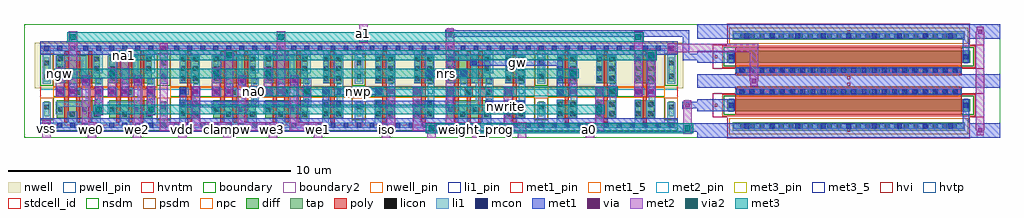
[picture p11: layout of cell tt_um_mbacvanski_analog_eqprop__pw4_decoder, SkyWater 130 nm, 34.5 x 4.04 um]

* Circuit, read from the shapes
.subckt tt_um_mbacvanski_analog_eqprop__pw4_decoder a0 a1 clampw gw iso na0 na1 ngw nrs nwp nwrite res_sel vdd vss we0 we1 we2 we3 weight_prog write
XM1 vss ngw we0 vss sky130_fd_pr__nfet_01v8 w=0.65 l=0.15
XM2 we0 a1 vss vss sky130_fd_pr__nfet_01v8 w=0.65 l=0.15
XM3 vss a0 we0 vss sky130_fd_pr__nfet_01v8 w=0.65 l=0.15
XM4 vss ngw we2 vss sky130_fd_pr__nfet_01v8 w=0.65 l=0.15
XM5 we2 na1 vss vss sky130_fd_pr__nfet_01v8 w=0.65 l=0.15
XM6 vss a0 we2 vss sky130_fd_pr__nfet_01v8 w=0.65 l=0.15
XM7 clampw weight_prog vss vss sky130_fd_pr__nfet_01v8 w=0.65 l=0.15
XM8 vss ngw we3 vss sky130_fd_pr__nfet_01v8 w=0.65 l=0.15
XM9 we3 na1 vss vss sky130_fd_pr__nfet_01v8 w=0.65 l=0.15
XM10 vss na0 we3 vss sky130_fd_pr__nfet_01v8 w=0.65 l=0.15
XM11 vss ngw we1 vss sky130_fd_pr__nfet_01v8 w=0.65 l=0.15
XM12 we1 a1 vss vss sky130_fd_pr__nfet_01v8 w=0.65 l=0.15
XM13 vss na0 we1 vss sky130_fd_pr__nfet_01v8 w=0.65 l=0.15
XM14 nwp weight_prog vss vss sky130_fd_pr__nfet_01v8 w=0.65 l=0.15
XM15 iso nwp vss vss sky130_fd_pr__nfet_01v8 w=0.65 l=0.15
XM16 nrs res_sel vss vss sky130_fd_pr__nfet_01v8 w=0.65 l=0.15
XM17 vss weight_prog gw vss sky130_fd_pr__nfet_01v8 w=0.65 l=0.15
XM18 gw nrs vss vss sky130_fd_pr__nfet_01v8 w=0.65 l=0.15
XM19 vss nwrite gw vss sky130_fd_pr__nfet_01v8 w=0.65 l=0.15
XM20 nwrite write vss vss sky130_fd_pr__nfet_01v8 w=0.65 l=0.15
XM21 ngw gw vss vss sky130_fd_pr__nfet_01v8 w=0.65 l=0.15
XM22 na0 a0 vss vss sky130_fd_pr__nfet_01v8 w=0.65 l=0.15
XM23 na1 a1 vss vss sky130_fd_pr__nfet_01v8 w=0.65 l=0.15
XM24 vss vdd res_sel vss sky130_fd_pr__nfet_g5v0d10v5 w=0.42 l=8
XM25 vss vdd weight_prog vss sky130_fd_pr__nfet_g5v0d10v5 w=0.42 l=8
XM26 n1 ngw we0 vdd sky130_fd_pr__pfet_01v8_hvt w=1 l=0.15
XM27 n2 a1 n1 vdd sky130_fd_pr__pfet_01v8_hvt w=1 l=0.15
XM28 vdd a0 n2 vdd sky130_fd_pr__pfet_01v8_hvt w=1 l=0.15
XM29 n3 ngw we2 vdd sky130_fd_pr__pfet_01v8_hvt w=1 l=0.15
XM30 n4 na1 n3 vdd sky130_fd_pr__pfet_01v8_hvt w=1 l=0.15
XM31 vdd a0 n4 vdd sky130_fd_pr__pfet_01v8_hvt w=1 l=0.15
XM32 clampw weight_prog vdd vdd sky130_fd_pr__pfet_01v8_hvt w=1 l=0.15
XM33 n5 ngw we3 vdd sky130_fd_pr__pfet_01v8_hvt w=1 l=0.15
XM34 n6 na1 n5 vdd sky130_fd_pr__pfet_01v8_hvt w=1 l=0.15
XM35 vdd na0 n6 vdd sky130_fd_pr__pfet_01v8_hvt w=1 l=0.15
XM36 n7 ngw we1 vdd sky130_fd_pr__pfet_01v8_hvt w=1 l=0.15
XM37 n8 a1 n7 vdd sky130_fd_pr__pfet_01v8_hvt w=1 l=0.15
XM38 vdd na0 n8 vdd sky130_fd_pr__pfet_01v8_hvt w=1 l=0.15
XM39 nwp weight_prog vdd vdd sky130_fd_pr__pfet_01v8_hvt w=1 l=0.15
XM40 iso nwp vdd vdd sky130_fd_pr__pfet_01v8_hvt w=1 l=0.15
XM41 nrs res_sel vdd vdd sky130_fd_pr__pfet_01v8_hvt w=1 l=0.15
XM42 n9 weight_prog gw vdd sky130_fd_pr__pfet_01v8_hvt w=1 l=0.15
XM43 n10 nrs n9 vdd sky130_fd_pr__pfet_01v8_hvt w=1 l=0.15
XM44 vdd nwrite n10 vdd sky130_fd_pr__pfet_01v8_hvt w=1 l=0.15
XM45 nwrite write vdd vdd sky130_fd_pr__pfet_01v8_hvt w=1 l=0.15
XM46 ngw gw vdd vdd sky130_fd_pr__pfet_01v8_hvt w=1 l=0.15
XM47 na0 a0 vdd vdd sky130_fd_pr__pfet_01v8_hvt w=1 l=0.15
XM48 na1 a1 vdd vdd sky130_fd_pr__pfet_01v8_hvt w=1 l=0.15
.ends

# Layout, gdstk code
import gdstk
lib = gdstk.Library(unit=1e-6, precision=1e-09)
def R(c, l, rs):  # rectangles x0, y0, x1, y1
    for r in rs: c.add(gdstk.rectangle(r[:2], r[2:], *l))
def A(c, l, x, y, w, h, nx, ny, dx, dy):  # array of equal rectangles
    R(c, l, [(x+i*dx, y+j*dy, x+i*dx+w, y+j*dy+h) for i in range(nx) for j in range(ny)])
def P(c, l, *ps):  # polygons
    for p in ps: c.add(gdstk.Polygon(p, *l))
nwell_pin = (64, 16)
nwell = (64, 20)
diff = (65, 20)
tap = (65, 44)
poly = (66, 20)
licon = (66, 44)
li1_pin = (67, 16)
li1 = (67, 20)
mcon = (67, 44)
met1_5 = (68, 5)
met1_pin = (68, 16)
met1 = (68, 20)
via = (68, 44)
met2_pin = (69, 16)
met2 = (69, 20)
via2 = (69, 44)
met3_5 = (70, 5)
met3_pin = (70, 16)
met3 = (70, 20)
hvi = (75, 20)
hvtp = (78, 44)
stdcell_id = (81, 4)
nsdm = (93, 44)
psdm = (94, 20)
npc = (95, 20)
pwell_pin = (122, 16)
hvntm = (125, 20)
boundary = (235, 4)
boundary2 = (236, 0)

tt_um_mbacvanski_analog_ = lib.new_cell('tt_um_mbacvanski_analog_eqprop__hv8t')
R(tt_um_mbacvanski_analog_, diff, [(-4.29,-0.365,4.29,0.055)])
R(tt_um_mbacvanski_analog_, poly, [(-4,-0.495,4,0.495)])
A(tt_um_mbacvanski_analog_, licon, -3.825, 0.245, 0.17, 0.17, 23, 1, 0.34, 0)
R(tt_um_mbacvanski_analog_, licon, [(-4.23,-0.24,-4.06,-0.07), (4.06,-0.24,4.23,-0.07)])
R(tt_um_mbacvanski_analog_, li1, [(-4.23,-0.385,-4.06,0.075), (4.06,-0.385,4.23,0.075), (-4,0.245,4,0.415)])
A(tt_um_mbacvanski_analog_, mcon, -3.865, 0.245, 0.17, 0.17, 22, 1, 0.36, 0)
R(tt_um_mbacvanski_analog_, mcon, [(-4.23,-0.24,-4.06,-0.07), (4.06,-0.24,4.23,-0.07)])
R(tt_um_mbacvanski_analog_, met1, [(-4.26,-0.365,-4.03,0.055), (4.03,-0.365,4.26,0.055), (-3.98,0.215,3.98,0.445)])
R(tt_um_mbacvanski_analog_, hvi, [(-4.475,-0.575,4.475,0.265)])
R(tt_um_mbacvanski_analog_, nsdm, [(-4.415,-0.49,4.415,0.18)])
R(tt_um_mbacvanski_analog_, npc, [(-3.925,0.145,3.925,0.515)])
R(tt_um_mbacvanski_analog_, hvntm, [(-4.475,-0.55,4.475,0.24)])
tt_um_mbacvanski_analog_.add(gdstk.Label('G', (0,0.33), layer=67, texttype=5))
tt_um_mbacvanski_analog_.add(gdstk.Label('S', (4.145,-0.155), layer=67, texttype=5))
tt_um_mbacvanski_analog_.add(gdstk.Label('D', (-4.145,-0.155), layer=67, texttype=5))

c_tt_um_mbacvanski_analog_ = lib.new_cell('tt_um_mbacvanski_analog_eqprop__pw4_pulldown')
R(c_tt_um_mbacvanski_analog_, tap, [(1.25,0.25,9.45,0.55)])
A(c_tt_um_mbacvanski_analog_, licon, 1.525, 0.315, 0.17, 0.17, 23, 1, 0.34, 0)
R(c_tt_um_mbacvanski_analog_, li1, [(1.29,0.315,9.41,0.485)])
A(c_tt_um_mbacvanski_analog_, mcon, 1.665, 0.315, 0.17, 0.17, 9, 1, 0.9, 0)
R(c_tt_um_mbacvanski_analog_, met1_pin, [(5.3,0.21,5.4,0.31), (0.61,1.095,0.71,1.195), (5.3,1.835,5.4,1.935)])
R(c_tt_um_mbacvanski_analog_, met1, [(0,0,10.7,0.515), (9.38,0.515,9.61,1.3), (0,0.935,1.32,1.355), (1.37,1.515,9.33,1.77), (0,1.77,10.7,2)])
R(c_tt_um_mbacvanski_analog_, hvi, [(1.065,-0.02,9.635,0.82), (0.55,0.725,0.875,1.565), (9.825,0.725,10.15,1.565)])
R(c_tt_um_mbacvanski_analog_, psdm, [(1.125,0.125,9.575,0.675)])
R(c_tt_um_mbacvanski_analog_, boundary, [(0,0,10.7,2)])
c_tt_um_mbacvanski_analog_.add(gdstk.Reference(tt_um_mbacvanski_analog_, (5.35,1.3)))
c_tt_um_mbacvanski_analog_.add(gdstk.Label('a', (0.66,1.145), layer=68, texttype=5))
c_tt_um_mbacvanski_analog_.add(gdstk.Label('vdd', (5.35,1.885), layer=68, texttype=5))
c_tt_um_mbacvanski_analog_.add(gdstk.Label('vss', (5.35,0.26), layer=68, texttype=5))

sky130_fd_sc_hd__tapvpwr = lib.new_cell('sky130_fd_sc_hd__tapvpwrvgnd_1')
R(sky130_fd_sc_hd__tapvpwr, nwell, [(-0.19,1.305,0.65,2.91)])
R(sky130_fd_sc_hd__tapvpwr, tap, [(0.145,0.32,0.315,0.845), (0.145,1.525,0.315,2.4)])
R(sky130_fd_sc_hd__tapvpwr, licon, [(0.145,0.555,0.315,0.725), (0.145,1.645,0.315,1.815), (0.145,2.11,0.315,2.28)])
R(sky130_fd_sc_hd__tapvpwr, li1, [(0,-0.085,0.46,0.085), (0.085,0,0.375,0.81), (0.085,1.47,0.375,2.72), (0,2.635,0.46,2.805)])
R(sky130_fd_sc_hd__tapvpwr, mcon, [(0.145,-0.085,0.315,0.085), (0.145,2.635,0.315,2.805)])
R(sky130_fd_sc_hd__tapvpwr, met1_pin, [(0.105,-0.09,0.36,0.1), (0.11,2.62,0.375,2.765)])
R(sky130_fd_sc_hd__tapvpwr, met1, [(0,-0.24,0.46,0.24), (0,2.48,0.46,2.96)])
R(sky130_fd_sc_hd__tapvpwr, hvtp, [(0,1.25,0.46,2.72)])
R(sky130_fd_sc_hd__tapvpwr, stdcell_id, [(0,0,0.46,2.72)])
R(sky130_fd_sc_hd__tapvpwr, nsdm, [(0,-0.19,0.46,0.19), (0,1.395,0.46,2.53)])
R(sky130_fd_sc_hd__tapvpwr, psdm, [(0,0.19,0.46,0.975), (0,2.53,0.46,2.91)])
sky130_fd_sc_hd__tapvpwr.add(gdstk.Label('VGND', (0.23,0), layer=68, texttype=5))
sky130_fd_sc_hd__tapvpwr.add(gdstk.Label('VPWR', (0.23,2.72), layer=68, texttype=5))
sky130_fd_sc_hd__tapvpwr.add(gdstk.Label('tapvpwrvgnd_1', (0,0), layer=83, texttype=44))

sky130_fd_sc_hd__inv_1 = lib.new_cell('sky130_fd_sc_hd__inv_1')
R(sky130_fd_sc_hd__inv_1, nwell_pin, [(0.145,2.635,0.315,2.805), (0.145,2.635,0.315,2.805)])
R(sky130_fd_sc_hd__inv_1, nwell, [(-0.19,1.305,1.57,2.91)])
R(sky130_fd_sc_hd__inv_1, diff, [(0.34,0.235,1.01,0.885), (0.34,1.485,1.01,2.485)])
P(sky130_fd_sc_hd__inv_1, poly, [(0.6,0.105),(0.6,0.995),(0.32,0.995),(0.32,1.325),(0.6,1.325),(0.6,2.615),(0.75,2.615),(0.75,0.105)])
A(sky130_fd_sc_hd__inv_1, licon, 0.38, 1.575, 0.17, 0.17, 1, 3, 0, 0.34)
A(sky130_fd_sc_hd__inv_1, licon, 0.8, 1.575, 0.17, 0.17, 1, 3, 0, 0.34)
R(sky130_fd_sc_hd__inv_1, licon, [(0.38,0.315,0.55,0.485), (0.8,0.315,0.97,0.485), (0.38,0.655,0.55,0.825), (0.8,0.655,0.97,0.825), (0.4,1.075,0.57,1.245)])
R(sky130_fd_sc_hd__inv_1, li1_pin, [(0.36,1.105,0.53,1.275), (0.82,1.105,0.99,1.275), (0.82,1.445,0.99,1.615)])
R(sky130_fd_sc_hd__inv_1, li1, [(0,-0.085,1.38,0.085), (0.32,0.005,0.55,0.905), (0.32,1.075,0.65,1.315), (0.34,1.495,0.55,2.675), (0,2.635,1.38,2.805)])
P(sky130_fd_sc_hd__inv_1, li1, [(0.72,0.255),(0.72,0.885),(0.82,0.885),(0.82,1.485),(0.72,1.485),(0.72,2.465),(1.05,2.465),(1.05,0.255)])
A(sky130_fd_sc_hd__inv_1, mcon, 0.145, -0.085, 0.17, 0.17, 3, 2, 0.46, 2.72)
R(sky130_fd_sc_hd__inv_1, met1_pin, [(0.145,-0.085,0.315,0.085), (0.145,-0.085,0.315,0.085), (0.145,2.635,0.315,2.805), (0.145,2.635,0.315,2.805)])
R(sky130_fd_sc_hd__inv_1, hvtp, [(0,1.25,1.38,2.72)])
R(sky130_fd_sc_hd__inv_1, stdcell_id, [(0,0,1.38,2.72)])
R(sky130_fd_sc_hd__inv_1, nsdm, [(0,-0.19,1.38,1.015)])
R(sky130_fd_sc_hd__inv_1, psdm, [(0,1.355,1.38,2.91)])
R(sky130_fd_sc_hd__inv_1, npc, [(0,0.975,1.38,1.345)])
R(sky130_fd_sc_hd__inv_1, pwell_pin, [(0.145,-0.085,0.315,0.085), (0.145,-0.085,0.315,0.085)])
R(sky130_fd_sc_hd__inv_1, boundary2, [(0,0,1.38,2.72)])
sky130_fd_sc_hd__inv_1.add(gdstk.FlexPath([(0,0),(1.38,0)], 0.48, ends="flush", simple_path=True, layer=68, datatype=20))  # met1
sky130_fd_sc_hd__inv_1.add(gdstk.FlexPath([(0,2.72),(1.38,2.72)], 0.48, ends="flush", simple_path=True, layer=68, datatype=20))  # met1
sky130_fd_sc_hd__inv_1.add(gdstk.Label('A', (0.445,1.19), layer=67, texttype=5))
sky130_fd_sc_hd__inv_1.add(gdstk.Label('Y', (0.905,1.19), layer=67, texttype=5))
sky130_fd_sc_hd__inv_1.add(gdstk.Label('Y', (0.905,1.53), layer=67, texttype=5))
sky130_fd_sc_hd__inv_1.add(gdstk.Label('VPWR', (0.23,2.72), layer=68, texttype=5))
sky130_fd_sc_hd__inv_1.add(gdstk.Label('VGND', (0.23,0), layer=68, texttype=5))
sky130_fd_sc_hd__inv_1.add(gdstk.Label('inv_1', (0,0), layer=83, texttype=44))
sky130_fd_sc_hd__inv_1.add(gdstk.Label('VPB', (0.23,2.72), layer=64, texttype=5))
sky130_fd_sc_hd__inv_1.add(gdstk.Label('VNB', (0.23,0), layer=64, texttype=59))

sky130_fd_sc_hd__nor3_1 = lib.new_cell('sky130_fd_sc_hd__nor3_1')
R(sky130_fd_sc_hd__nor3_1, nwell_pin, [(0.15,2.635,0.32,2.805)])
R(sky130_fd_sc_hd__nor3_1, nwell, [(-0.19,1.305,2.03,2.91)])
R(sky130_fd_sc_hd__nor3_1, diff, [(0.135,0.235,1.645,0.885), (0.135,1.485,1.645,2.485)])
P(sky130_fd_sc_hd__nor3_1, poly, [(0.395,0.105),(0.395,0.995),(0.125,0.995),(0.125,1.325),(0.395,1.325),(0.395,2.615),(0.545,2.615),(0.545,0.105)],
  [(0.815,0.105),(0.815,0.995),(0.755,0.995),(0.755,1.325),(0.815,1.325),(0.815,2.615),(0.965,2.615),(0.965,1.325),(1.025,1.325),(1.025,0.995),(0.965,0.995),(0.965,0.105)],
  [(1.235,0.105),(1.235,2.615),(1.385,2.615),(1.385,1.325),(1.705,1.325),(1.705,0.995),(1.385,0.995),(1.385,0.105)])
A(sky130_fd_sc_hd__nor3_1, licon, 0.175, 1.575, 0.17, 0.17, 1, 3, 0, 0.34)
R(sky130_fd_sc_hd__nor3_1, licon, [(0.595,0.305,0.765,0.475), (1.435,0.305,1.605,0.475), (0.175,0.465,0.345,0.635), (1.015,0.465,1.185,0.635), (0.175,1.075,0.345,1.245), (0.805,1.075,0.975,1.245), (1.485,1.075,1.655,1.245), (1.435,1.915,1.605,2.085), (1.435,2.255,1.605,2.425)])
A(sky130_fd_sc_hd__nor3_1, li1_pin, 1.53, 0.765, 0.17, 0.17, 1, 3, 0, 0.34)
R(sky130_fd_sc_hd__nor3_1, li1_pin, [(0.15,1.105,0.32,1.275), (0.61,1.445,0.78,1.615), (0.61,1.785,0.78,1.955), (0.15,2.125,0.32,2.295)])
R(sky130_fd_sc_hd__nor3_1, li1, [(1.485,0.655,1.755,1.665), (0.09,0.995,0.425,1.325)])
P(sky130_fd_sc_hd__nor3_1, li1, [(0.09,0.385),(0.09,0.825),(1.145,0.825),(1.145,1.495),(1,1.495),(1,2.28),(0.425,2.28),(0.425,1.495),(0.09,1.495),(0.09,2.45),(1.17,2.45),(1.17,1.665),(1.315,1.665),(1.315,0.655),(1.185,0.655),(1.185,0.385),(1.015,0.385),(1.015,0.655),(0.345,0.655),(0.345,0.385)],
  [(0.595,0.995),(0.595,2.005),(0.83,2.005),(0.83,1.325),(0.975,1.325),(0.975,0.995)],
  [(1.435,1.835),(1.435,2.635),(0,2.635),(0,2.805),(1.84,2.805),(1.84,2.635),(1.75,2.635),(1.75,1.835)],
  [(0,-0.085),(0,0.085),(0.515,0.085),(0.515,0.485),(0.845,0.485),(0.845,0.085),(1.355,0.085),(1.355,0.485),(1.685,0.485),(1.685,0.085),(1.84,0.085),(1.84,-0.085)])
A(sky130_fd_sc_hd__nor3_1, mcon, 0.145, -0.085, 0.17, 0.17, 4, 2, 0.46, 2.72)
R(sky130_fd_sc_hd__nor3_1, met1_pin, [(0.15,-0.085,0.32,0.085), (0.15,2.635,0.32,2.805)])
R(sky130_fd_sc_hd__nor3_1, hvtp, [(0,1.25,1.84,2.72)])
R(sky130_fd_sc_hd__nor3_1, stdcell_id, [(0,0,1.84,2.72)])
R(sky130_fd_sc_hd__nor3_1, nsdm, [(0,-0.19,1.84,1.015)])
R(sky130_fd_sc_hd__nor3_1, psdm, [(0,1.355,1.84,2.91)])
R(sky130_fd_sc_hd__nor3_1, npc, [(0,0.975,1.84,1.345)])
R(sky130_fd_sc_hd__nor3_1, pwell_pin, [(0.15,-0.085,0.32,0.085)])
R(sky130_fd_sc_hd__nor3_1, boundary2, [(0,0,1.84,2.72)])
sky130_fd_sc_hd__nor3_1.add(gdstk.FlexPath([(0,0),(1.84,0)], 0.48, ends="flush", simple_path=True, layer=68, datatype=20))  # met1
sky130_fd_sc_hd__nor3_1.add(gdstk.FlexPath([(0,2.72),(1.84,2.72)], 0.48, ends="flush", simple_path=True, layer=68, datatype=20))  # met1
sky130_fd_sc_hd__nor3_1.add(gdstk.Label('A', (1.615,0.85), layer=67, texttype=5))
sky130_fd_sc_hd__nor3_1.add(gdstk.Label('B', (0.695,1.53), layer=67, texttype=5))
sky130_fd_sc_hd__nor3_1.add(gdstk.Label('Y', (0.235,2.21), layer=67, texttype=5))
sky130_fd_sc_hd__nor3_1.add(gdstk.Label('C', (0.235,1.19), layer=67, texttype=5))
sky130_fd_sc_hd__nor3_1.add(gdstk.Label('VPWR', (0.235,2.72), layer=68, texttype=5))
sky130_fd_sc_hd__nor3_1.add(gdstk.Label('VGND', (0.235,0), layer=68, texttype=5))
sky130_fd_sc_hd__nor3_1.add(gdstk.Label('nor3_1', (0,0), layer=83, texttype=44))
sky130_fd_sc_hd__nor3_1.add(gdstk.Label('VPB', (0.235,2.72), layer=64, texttype=5))
sky130_fd_sc_hd__nor3_1.add(gdstk.Label('VNB', (0.235,0), layer=64, texttype=59))

c_tt_um_mbacvanski_analog__ = lib.new_cell('tt_um_mbacvanski_analog_eqprop__pw4_decoder')
A(c_tt_um_mbacvanski_analog__, li1, 2.56, 1.545, 0.17, 0.17, 3, 1, 0.46, 0)
A(c_tt_um_mbacvanski_analog__, li1, 8.08, 1.545, 0.17, 0.17, 3, 1, 0.46, 0)
R(c_tt_um_mbacvanski_analog__, li1, [(17.49,0.925,17.66,1.095), (16.36,1.095,16.53,1.265), (1.18,1.545,1.35,1.715), (1.64,1.545,1.81,1.715), (4.4,1.545,4.57,1.715), (5.53,1.545,5.7,1.715), (5.99,1.545,6.16,1.715), (6.7,1.545,6.87,1.715), (7.16,1.545,7.33,1.715), (9.92,1.545,10.09,1.715), (10.59,1.545,10.76,1.715), (11.05,1.545,11.22,1.715), (12.43,1.545,12.6,1.715), (12.89,1.545,13.06,1.715), (13.81,1.545,13.98,1.715), (14.98,1.545,15.15,1.715), (17.03,1.545,17.2,1.715), (18.87,1.545,19.04,1.715), (19.33,1.545,19.5,1.715), (20.25,1.545,20.42,1.715), (20.71,1.545,20.88,1.715), (21.63,1.545,21.8,1.715), (22.09,1.545,22.26,1.715), (2.1,1.935,2.27,2.105), (3.94,1.935,4.11,2.105), (7.62,1.935,7.79,2.105), (9.46,1.935,9.63,2.105), (14.27,2.185,14.44,2.355), (15.44,2.185,15.61,2.355), (15.83,2.565,16,2.735)])
A(c_tt_um_mbacvanski_analog__, mcon, 2.56, 1.545, 0.17, 0.17, 3, 1, 0.46, 0)
A(c_tt_um_mbacvanski_analog__, mcon, 8.08, 1.545, 0.17, 0.17, 3, 1, 0.46, 0)
R(c_tt_um_mbacvanski_analog__, mcon, [(17.49,0.925,17.66,1.095), (16.36,1.095,16.53,1.265), (1.18,1.545,1.35,1.715), (1.64,1.545,1.81,1.715), (4.4,1.545,4.57,1.715), (5.53,1.545,5.7,1.715), (5.99,1.545,6.16,1.715), (6.7,1.545,6.87,1.715), (7.16,1.545,7.33,1.715), (9.92,1.545,10.09,1.715), (10.59,1.545,10.76,1.715), (11.05,1.545,11.22,1.715), (12.43,1.545,12.6,1.715), (12.89,1.545,13.06,1.715), (13.81,1.545,13.98,1.715), (14.98,1.545,15.15,1.715), (17.03,1.545,17.2,1.715), (18.87,1.545,19.04,1.715), (19.33,1.545,19.5,1.715), (20.25,1.545,20.42,1.715), (20.71,1.545,20.88,1.715), (21.63,1.545,21.8,1.715), (22.09,1.545,22.26,1.715), (2.1,1.935,2.27,2.105), (3.94,1.935,4.11,2.105), (7.62,1.935,7.79,2.105), (9.46,1.935,9.63,2.105), (14.27,2.185,14.44,2.355), (15.44,2.185,15.61,2.355), (15.83,2.565,16,2.735)])
R(c_tt_um_mbacvanski_analog__, met1_5, [(16.96,1.045,17.06,1.145), (11.775,1.58,11.875,1.68), (14.89,2.22,14.99,2.32), (17.385,2.6,17.485,2.7)])
A(c_tt_um_mbacvanski_analog__, met1, 2.515, 1.46, 0.26, 0.34, 3, 1, 0.46, 0)
A(c_tt_um_mbacvanski_analog__, met1, 8.035, 1.46, 0.26, 0.34, 3, 1, 0.46, 0)
R(c_tt_um_mbacvanski_analog__, met1, [(33.62,0.13,33.98,0.39), (0.57,0.2,23.9,0.515), (0.57,0.515,23.11,0.68), (16.3,0.895,17.72,1.295), (23.27,1.015,23.63,1.03), (23.27,1.03,23.9,1.26), (5.5,1.065,15.18,1.295), (23.27,1.26,23.63,1.275), (5.5,1.295,5.73,1.775), (10.56,1.295,10.79,1.775), (14.95,1.295,15.18,1.46), (1.135,1.46,1.395,1.8), (1.595,1.46,1.855,1.8), (4.355,1.46,4.615,1.8), (5.945,1.46,6.205,1.8), (6.655,1.46,6.915,1.8), (7.115,1.46,7.375,1.8), (9.875,1.46,10.135,1.8), (12.845,1.46,13.105,1.8), (13.765,1.46,14.025,1.8), (14.935,1.46,15.195,1.8), (16.985,1.46,17.245,1.8), (19.285,1.46,19.545,1.8), (20.205,1.46,20.465,1.8), (20.665,1.46,20.925,1.8), (21.585,1.46,21.845,1.8), (22.045,1.46,22.305,1.8), (18.84,1.485,19.07,2.535), (10.99,1.515,12.66,1.745), (2.055,1.85,2.315,2.19), (3.895,1.85,4.155,2.19), (7.575,1.85,7.835,2.19), (9.415,1.85,9.675,2.19), (25.62,1.87,25.98,2.13), (14.21,2.155,15.67,2.385), (15.77,2.535,19.07,2.765), (23.285,2.74,23.9,2.97), (0.57,2.92,23.11,3.4), (23.285,2.97,23.515,3.565), (14.885,3.55,15.245,3.565), (14.885,3.565,23.515,3.795), (33.62,3.61,33.98,3.87), (14.885,3.795,15.245,3.81)])
A(c_tt_um_mbacvanski_analog__, via, 2.57, 1.555, 0.15, 0.15, 3, 1, 0.46, 0)
A(c_tt_um_mbacvanski_analog__, via, 8.09, 1.555, 0.15, 0.15, 3, 1, 0.46, 0)
R(c_tt_um_mbacvanski_analog__, via, [(33.725,0.185,33.875,0.335), (0.725,0.365,0.875,0.515), (23.375,1.07,23.525,1.22), (1.19,1.555,1.34,1.705), (1.65,1.555,1.8,1.705), (4.41,1.555,4.56,1.705), (6,1.555,6.15,1.705), (6.71,1.555,6.86,1.705), (7.17,1.555,7.32,1.705), (9.93,1.555,10.08,1.705), (12.9,1.555,13.05,1.705), (13.82,1.555,13.97,1.705), (14.99,1.555,15.14,1.705), (17.04,1.555,17.19,1.705), (19.34,1.555,19.49,1.705), (20.26,1.555,20.41,1.705), (20.72,1.555,20.87,1.705), (21.64,1.555,21.79,1.705), (22.1,1.555,22.25,1.705), (25.725,1.925,25.875,2.075), (2.11,1.945,2.26,2.095), (3.95,1.945,4.1,2.095), (7.63,1.945,7.78,2.095), (9.47,1.945,9.62,2.095), (4.865,3.085,5.015,3.235), (22.805,3.085,22.955,3.235), (14.99,3.605,15.14,3.755), (33.725,3.665,33.875,3.815)])
A(c_tt_um_mbacvanski_analog__, met2_pin, 2.35, 0.22, 0.1, 0.1, 6, 1, 1.6, 0)
R(c_tt_um_mbacvanski_analog__, met2_pin, [(12.75,0.22,12.85,0.32), (15.95,0.22,16.05,0.32), (17.55,0.22,17.65,0.32), (19.95,0.22,20.05,0.32), (0.75,0.26,0.85,0.36), (11.95,3.625,12.05,3.725)])
A(c_tt_um_mbacvanski_analog__, met2, 2.25, 0, 0.3, 0.24, 6, 1, 1.6, 0)
A(c_tt_um_mbacvanski_analog__, met2, 12.65, 0, 0.3, 0.24, 4, 1, 1.6, 0)
A(c_tt_um_mbacvanski_analog__, met2, 13.745, 0.54, 0.3, 1.27, 3, 1, 3.22, 0)
R(c_tt_um_mbacvanski_analog__, met2, [(0.65,0,0.95,0.62), (19.85,0,20.15,0.24), (33.67,0.08,33.93,0.26), (23.3,0.13,23.6,1.145), (2.035,0.24,2.55,0.54), (3.85,0.24,4.175,0.54), (4.79,0.24,5.75,0.54), (5.925,0.24,7.35,0.54), (7.555,0.24,8.95,0.54), (9.395,0.24,10.55,0.54), (12.65,0.24,13.125,0.54), (13.745,0.24,14.55,0.54), (14.915,0.24,16.15,0.54), (16.965,0.24,17.75,0.54), (19.85,0.24,20.485,0.54), (33.65,0.26,33.95,3.74), (2.035,0.54,2.335,2.2), (3.875,0.54,4.175,2.2), (4.79,0.54,5.09,3.34), (5.925,0.54,6.225,1.81), (7.555,0.54,7.855,2.2), (9.395,0.54,9.695,2.2), (12.825,0.54,13.125,1.81), (14.915,0.54,15.215,3.68), (2.495,0.79,2.795,1.81), (4.335,0.79,4.635,1.81), (23.32,1.145,23.58,1.325), (8.015,1.43,8.315,1.83), (9.855,1.43,10.155,1.83), (20.645,1.43,20.945,1.83), (1.115,1.45,1.415,2.47), (1.575,1.45,1.875,3.75), (2.955,1.45,3.255,2.47), (3.415,1.45,3.715,3.11), (6.635,1.45,6.935,2.47), (7.095,1.45,7.395,3.11), (8.475,1.45,8.775,2.47), (8.935,1.45,9.235,3.75), (19.265,1.45,19.565,2.47), (21.565,1.45,21.865,3.75), (22.025,1.45,22.325,3.11), (25.67,1.82,25.93,2), (25.65,2,25.95,3.01), (22.75,2.98,23.01,3.01), (22.75,3.01,25.95,3.31), (22.75,3.31,23.01,3.34), (11.85,3.35,12.15,4), (14.935,3.68,15.195,3.86), (33.67,3.74,33.93,3.92)])
R(c_tt_um_mbacvanski_analog__, via2, [(14.3,0.23,14.5,0.43), (23.35,0.23,23.55,0.43), (2.545,0.89,2.745,1.09), (4.385,0.89,4.585,1.09), (20.235,0.89,20.435,1.09), (8.065,1.53,8.265,1.73), (9.905,1.53,10.105,1.73), (20.695,1.53,20.895,1.73), (1.165,2.17,1.365,2.37), (3.005,2.17,3.205,2.37), (6.685,2.17,6.885,2.37), (8.525,2.17,8.725,2.37), (19.315,2.17,19.515,2.37), (3.465,2.81,3.665,3.01), (7.145,2.81,7.345,3.01), (22.075,2.81,22.275,3.01), (1.625,3.45,1.825,3.65), (8.985,3.45,9.185,3.65), (11.9,3.45,12.1,3.65), (21.615,3.45,21.815,3.65)])
R(c_tt_um_mbacvanski_analog__, met3_5, [(8.115,1.58,8.215,1.68), (1.215,2.22,1.315,2.32), (3.515,2.86,3.615,2.96)])
R(c_tt_um_mbacvanski_analog__, met3_pin, [(14.35,0.22,14.45,0.32)])
R(c_tt_um_mbacvanski_analog__, met3, [(14.2,0.16,23.65,0.5), (2.445,0.82,20.535,1.16), (7.965,1.46,20.995,1.8), (1.065,2.1,19.615,2.44), (3.365,2.74,22.375,3.08), (1.525,3.38,21.915,3.72)])
R(c_tt_um_mbacvanski_analog__, boundary, [(0,0,34.5,4)])
c_tt_um_mbacvanski_analog__.add(gdstk.Reference(c_tt_um_mbacvanski_analog_, (23.8,4), x_reflection=True))
c_tt_um_mbacvanski_analog__.add(gdstk.Reference(sky130_fd_sc_hd__tapvpwr, (22.65,0.44)))
c_tt_um_mbacvanski_analog__.add(gdstk.Reference(sky130_fd_sc_hd__inv_1, (12.07,0.44)))
c_tt_um_mbacvanski_analog__.add(gdstk.Reference(sky130_fd_sc_hd__inv_1, (16.67,0.44)))
c_tt_um_mbacvanski_analog__.add(gdstk.Reference(sky130_fd_sc_hd__tapvpwr, (0.57,0.44)))
c_tt_um_mbacvanski_analog__.add(gdstk.Reference(sky130_fd_sc_hd__tapvpwr, (4.71,0.44)))
c_tt_um_mbacvanski_analog__.add(gdstk.Reference(sky130_fd_sc_hd__nor3_1, (1.03,0.44)))
c_tt_um_mbacvanski_analog__.add(gdstk.Reference(sky130_fd_sc_hd__nor3_1, (8.39,0.44)))
c_tt_um_mbacvanski_analog__.add(gdstk.Reference(sky130_fd_sc_hd__nor3_1, (2.87,0.44)))
c_tt_um_mbacvanski_analog__.add(gdstk.Reference(sky130_fd_sc_hd__tapvpwr, (11.61,0.44)))
c_tt_um_mbacvanski_analog__.add(gdstk.Reference(sky130_fd_sc_hd__nor3_1, (14.83,0.44)))
c_tt_um_mbacvanski_analog__.add(gdstk.Reference(sky130_fd_sc_hd__inv_1, (21.27,0.44)))
c_tt_um_mbacvanski_analog__.add(gdstk.Reference(sky130_fd_sc_hd__nor3_1, (6.55,0.44)))
c_tt_um_mbacvanski_analog__.add(gdstk.Reference(c_tt_um_mbacvanski_analog_, (23.8,0)))
c_tt_um_mbacvanski_analog__.add(gdstk.Reference(sky130_fd_sc_hd__inv_1, (18.51,0.44)))
c_tt_um_mbacvanski_analog__.add(gdstk.Reference(sky130_fd_sc_hd__inv_1, (10.23,0.44)))
c_tt_um_mbacvanski_analog__.add(gdstk.Reference(sky130_fd_sc_hd__inv_1, (5.17,0.44)))
c_tt_um_mbacvanski_analog__.add(gdstk.Reference(sky130_fd_sc_hd__inv_1, (13.45,0.44)))
c_tt_um_mbacvanski_analog__.add(gdstk.Reference(sky130_fd_sc_hd__inv_1, (19.89,0.44)))
c_tt_um_mbacvanski_analog__.add(gdstk.Reference(sky130_fd_sc_hd__tapvpwr, (18.05,0.44)))
c_tt_um_mbacvanski_analog__.add(gdstk.Label('gw', (17.435,2.65), layer=68, texttype=5))
c_tt_um_mbacvanski_analog__.add(gdstk.Label('nrs', (14.94,2.27), layer=68, texttype=5))
c_tt_um_mbacvanski_analog__.add(gdstk.Label('nwp', (11.825,1.63), layer=68, texttype=5))
c_tt_um_mbacvanski_analog__.add(gdstk.Label('nwrite', (17.01,1.095), layer=68, texttype=5))
c_tt_um_mbacvanski_analog__.add(gdstk.Label('vss', (0.8,0.31), layer=69, texttype=5))
c_tt_um_mbacvanski_analog__.add(gdstk.Label('clampw', (7.2,0.27), layer=69, texttype=5))
c_tt_um_mbacvanski_analog__.add(gdstk.Label('we3', (8.8,0.27), layer=69, texttype=5))
c_tt_um_mbacvanski_analog__.add(gdstk.Label('we2', (4,0.27), layer=69, texttype=5))
c_tt_um_mbacvanski_analog__.add(gdstk.Label('weight_prog', (16,0.27), layer=69, texttype=5))
c_tt_um_mbacvanski_analog__.add(gdstk.Label('write', (17.6,0.27), layer=69, texttype=5))
c_tt_um_mbacvanski_analog__.add(gdstk.Label('vdd', (5.6,0.27), layer=69, texttype=5))
c_tt_um_mbacvanski_analog__.add(gdstk.Label('iso', (12.8,0.27), layer=69, texttype=5))
c_tt_um_mbacvanski_analog__.add(gdstk.Label('we0', (2.4,0.27), layer=69, texttype=5))
c_tt_um_mbacvanski_analog__.add(gdstk.Label('a1', (12,3.675), layer=69, texttype=5))
c_tt_um_mbacvanski_analog__.add(gdstk.Label('we1', (10.4,0.27), layer=69, texttype=5))
c_tt_um_mbacvanski_analog__.add(gdstk.Label('a0', (20,0.27), layer=69, texttype=5))
c_tt_um_mbacvanski_analog__.add(gdstk.Label('res_sel', (14.4,0.27), layer=70, texttype=5))
c_tt_um_mbacvanski_analog__.add(gdstk.Label('ngw', (1.265,2.27), layer=70, texttype=5))
c_tt_um_mbacvanski_analog__.add(gdstk.Label('na1', (3.565,2.91), layer=70, texttype=5))
c_tt_um_mbacvanski_analog__.add(gdstk.Label('na0', (8.165,1.63), layer=70, texttype=5))

lib.write_gds('tt_um_mbacvanski_analog_eqprop__pw4_decoder.gds')
